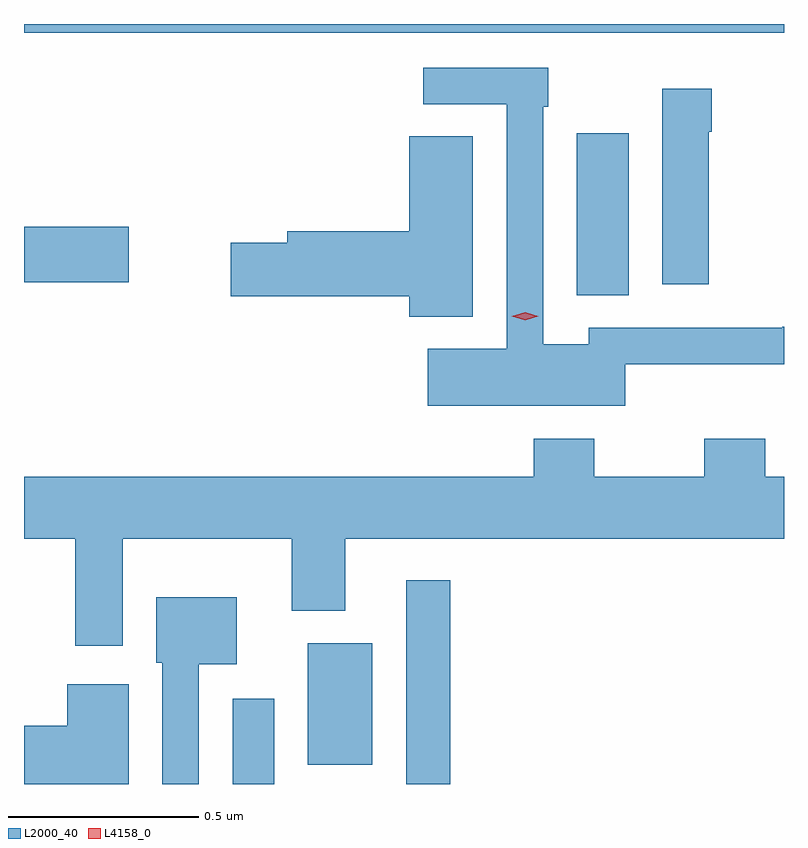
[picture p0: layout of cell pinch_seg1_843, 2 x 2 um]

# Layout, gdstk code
import gdstk
lib = gdstk.Library(unit=1e-6, precision=1e-09)
def R(c, l, rs):  # rectangles x0, y0, x1, y1
    for r in rs: c.add(gdstk.rectangle(r[:2], r[2:], *l))
def P(c, l, *ps):  # polygons
    for p in ps: c.add(gdstk.Polygon(p, *l))
L2000_40 = (2000, 40)
L4158_0 = (4158, 0)

pinch_seg1_843 = lib.new_cell('pinch_seg1_843')
R(pinch_seg1_843, L2000_40, [(491.459,571.067,491.569,571.291), (491.916,571.067,492.032,571.603), (491.657,571.118,491.827,571.438), (492.365,572.353,492.502,572.779), (490.91,572.387,491.185,572.534), (490.91,573.044,492.91,573.067)])
P(pinch_seg1_843, L2000_40, [(492.492,572.171),(492.91,572.171),(492.91,572.27),(492.905,572.27),(492.905,572.268),(492.396,572.268),(492.396,572.224),(492.276,572.224),(492.276,572.849),(492.289,572.849),(492.289,572.952),(491.961,572.952),(491.961,572.856),(492.18,572.856),(492.18,572.212),(491.973,572.212),(491.973,572.063),(492.492,572.063)],
  [(492.712,572.783),(492.72,572.783),(492.72,572.896),(492.59,572.896),(492.59,572.382),(492.712,572.382)],
  [(492.091,572.771),(491.924,572.771),(491.924,572.522),(491.603,572.522),(491.603,572.492),(491.454,572.492),(491.454,572.35),(491.924,572.35),(491.924,572.297),(492.091,572.297)],
  [(491.17,571.712),(491.615,571.712),(491.615,571.523),(491.755,571.523),(491.755,571.712),(492.91,571.712),(492.91,571.876),(492.86,571.876),(492.86,571.975),(492.7,571.975),(492.7,571.876),(492.411,571.876),(492.411,571.975),(492.251,571.975),(492.251,571.876),(490.91,571.876),(490.91,571.712),(491.045,571.712),(491.045,571.431),(491.17,571.431)],
  [(491.37,571.382),(491.47,571.382),(491.47,571.558),(491.258,571.558),(491.258,571.386),(491.274,571.386),(491.274,571.067),(491.37,571.067)],
  [(491.185,571.33),(491.024,571.33),(491.024,571.22),(490.91,571.22),(490.91,571.067),(491.185,571.067)])
P(pinch_seg1_843, L4158_0, [(492.229,572.288),(492.194,572.298),(492.194,572.298),(492.194,572.298),(492.229,572.308),(492.263,572.298),(492.263,572.298),(492.263,572.298)])

lib.write_gds('pinch_seg1_843.gds')
